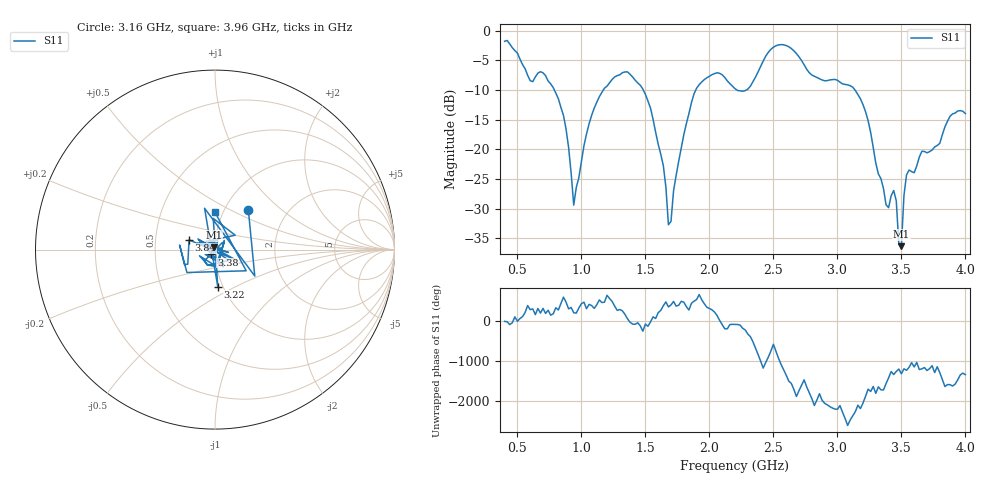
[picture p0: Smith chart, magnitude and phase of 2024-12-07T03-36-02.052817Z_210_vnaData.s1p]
!Created with skrf (http://scikit-rf.org).
# Hz S RI R 50.0
!freq ReS11 ImS11
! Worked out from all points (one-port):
!   181 points, 400 MHz to 4 GHz, reference 50 ohm
!   lowest |S11| = -36.3 dB at 3.5 GHz (marker M1), VSWR 1.03, Z = 49.2 + j1.31 ohm
!   |S11| at or under -10 dB: 788.4 MHz to 1.172 GHz (383.3 MHz wide, 39.1 % of centre); 1.483 GHz to 1.894 GHz (410.8 MHz wide, 24.3 % of centre); 3.137 GHz to end of sweep (the widest 3 of 4)
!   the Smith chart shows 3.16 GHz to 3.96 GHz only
!   S11 on the Smith chart (normalised r, x): 3.16 GHz: 1.29, +0.62; 3.22 GHz: 0.95, -0.41; 3.38 GHz: 0.96, -0.05; 3.84 GHz: 0.74, +0.08; 3.96 GHz: 0.91, +0.40
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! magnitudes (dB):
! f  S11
! 400 MHz  -1.8
! 600 MHz  -8.5
! 720 MHz  -7.6
! 860 MHz  -14.3
! 940 MHz  -29.4
! 1.08 GHz  -14.3
! 1.3 GHz  -7.4
! 1.54 GHz  -13.1
! 1.64 GHz  -22.8
! 1.68 GHz  -32.7
! 1.76 GHz  -22.0
! 1.92 GHz  -9.1
! 2.2 GHz  -9.8
! 2.5 GHz  -2.8
! 2.66 GHz  -3.4
! 3.1 GHz  -9.3
! 3.16 GHz  -10.8
! 3.22 GHz  -13.7
! 3.38 GHz  -29.3
! 3.44 GHz  -26.9
! 3.46 GHz  -28.7
! 3.48 GHz  -36.0
! 3.5 GHz  -36.3
! 3.52 GHz  -27.8
! 3.56 GHz  -23.5
! 3.84 GHz  -16.2
! 3.96 GHz  -13.5
! 4 GHz  -14.0
